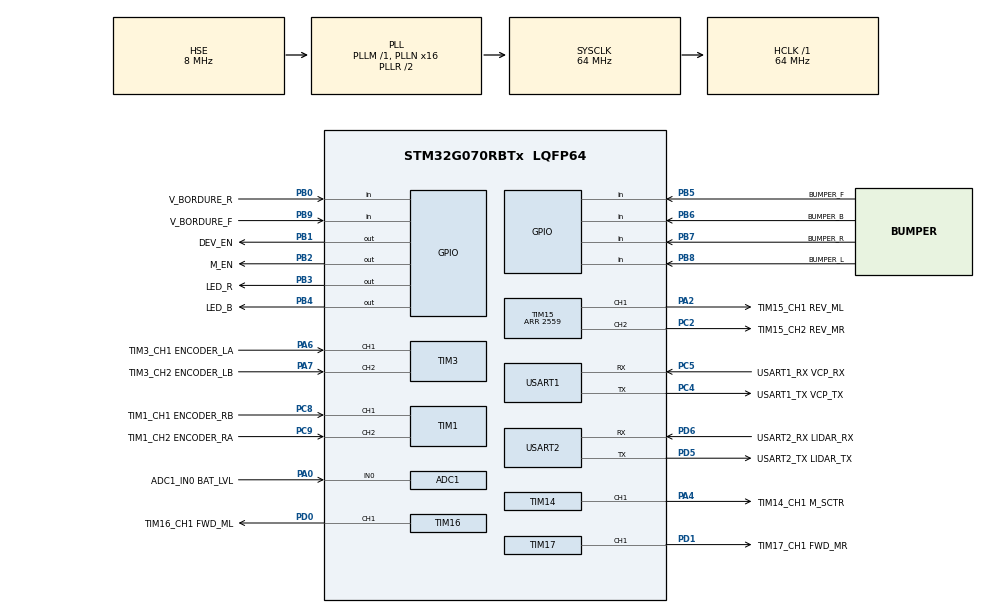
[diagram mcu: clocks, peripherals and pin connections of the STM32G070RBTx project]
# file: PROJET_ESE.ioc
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ADC1.Channel-0\#ChannelRegularConversion=ADC_CHANNEL_0
ADC1.NbrOfConversionFlag=1
ADC1.Rank-0\#ChannelRegularConversion=1
ADC1.SamplingTime-0\#ChannelRegularConversion=ADC_SAMPLINGTIME_COMMON_1
ADC1.SelectedChannel=ADC_CHANNEL_0
ADC1.master=1
Mcu.Family=STM32G0
Mcu.Name=STM32G070RBTx
Mcu.Package=LQFP64
PA0.GPIO_Label=ADC1_IN0 BAT_LVL
PA0.Mode=IN0
PA0.Signal=ADC1_IN0
PA13.Mode=Serial_Wire
PA13.Signal=SYS_SWDIO
PA14-BOOT0.Mode=Serial_Wire
PA14-BOOT0.Signal=SYS_SWCLK
PA2.GPIO_Label=TIM15_CH1 REV_ML
PA2.Signal=S_TIM15_CH1
PA4.GPIO_Label=TIM14_CH1 M_SCTR
PA4.Signal=S_TIM14_CH1
PA6.GPIO_Label=TIM3_CH1 ENCODER_LA
PA6.Signal=S_TIM3_CH1
PA7.GPIO_Label=TIM3_CH2 ENCODER_LB
PA7.Signal=S_TIM3_CH2
PB0.GPIO_Label=V_BORDURE_R
PB0.GPIO_PuPd=GPIO_PULLDOWN
PB0.Signal=GPIO_Input
PB1.GPIO_Label=DEV_EN
PB1.Signal=GPIO_Output
PB2.GPIO_Label=M_EN
PB2.Signal=GPIO_Output
PB3.GPIO_Label=LED_R
PB3.PinState=GPIO_PIN_SET
PB3.Signal=GPIO_Output
PB4.GPIO_Label=LED_B
PB4.PinState=GPIO_PIN_SET
PB4.Signal=GPIO_Output
PB5.GPIO_Label=BUMPER_F
PB5.GPIO_PuPd=GPIO_PULLDOWN
PB5.Signal=GPIO_Input
PB6.GPIO_Label=BUMPER_B
PB6.GPIO_PuPd=GPIO_PULLDOWN
PB6.Signal=GPIO_Input
PB7.GPIO_Label=BUMPER_R
PB7.GPIO_PuPd=GPIO_PULLDOWN
PB7.Signal=GPIO_Input
PB8.GPIO_Label=BUMPER_L
PB8.GPIO_PuPd=GPIO_PULLDOWN
PB8.Signal=GPIO_Input
PB9.GPIO_Label=V_BORDURE_F
PB9.GPIO_PuPd=GPIO_PULLDOWN
PB9.Signal=GPIO_Input
PC2.GPIO_Label=TIM15_CH2 REV_MR
PC2.Signal=S_TIM15_CH2
PC4.GPIO_Label=USART1_TX VCP_TX
PC4.Mode=Asynchronous
PC4.Signal=USART1_TX
PC5.GPIO_Label=USART1_RX VCP_RX
PC5.Mode=Asynchronous
PC5.Signal=USART1_RX
PC8.GPIO_Label=TIM1_CH1 ENCODER_RB
PC8.Signal=S_TIM1_CH1
PC9.GPIO_Label=TIM1_CH2 ENCODER_RA
PC9.Signal=S_TIM1_CH2
PD0.GPIO_Label=TIM16_CH1 FWD_ML
PD0.Signal=S_TIM16_CH1
PD1.GPIO_Label=TIM17_CH1 FWD_MR
PD1.Signal=S_TIM17_CH1
PD5.GPIO_Label=USART2_TX LIDAR_TX
PD5.Mode=Asynchronous
PD5.Signal=USART2_TX
PD6.GPIO_Label=USART2_RX LIDAR_RX
PD6.Mode=Asynchronous
PD6.Signal=USART2_RX
PF0-OSC_IN\ (PF0).Mode=HSE-External-Oscillator
PF0-OSC_IN\ (PF0).Signal=RCC_OSC_IN
PF1-OSC_OUT\ (PF1).Mode=HSE-External-Oscillator
PF1-OSC_OUT\ (PF1).Signal=RCC_OSC_OUT
ProjectManager.HeapSize=0x200
ProjectManager.StackSize=0x400
ProjectManager.TargetToolchain=STM32CubeIDE
RCC.ADCFreq_Value=64000000
RCC.AHBFreq_Value=64000000
RCC.CortexFreq_Value=64000000
RCC.EXTERNAL_CLOCK_VALUE=48000
RCC.HCLKFreq_Value=64000000
RCC.HSE_VALUE=8000000
RCC.HSI_VALUE=16000000
RCC.LSE_VALUE=32768
RCC.PLLN=16
RCC.PLLSourceVirtual=RCC_PLLSOURCE_HSE
RCC.SYSCLKFreq_VALUE=64000000
RCC.SYSCLKSource=RCC_SYSCLKSOURCE_PLLCLK
RCC.VCOOutputFreq_Value=128000000
SH.S_TIM14_CH1.0=TIM14_CH1,PWM Generation1 CH1
SH.S_TIM15_CH1.0=TIM15_CH1,PWM Generation1 CH1
SH.S_TIM15_CH2.0=TIM15_CH2,PWM Generation2 CH2
SH.S_TIM16_CH1.0=TIM16_CH1,PWM Generation1 CH1
SH.S_TIM17_CH1.0=TIM17_CH1,PWM Generation1 CH1
SH.S_TIM1_CH1.0=TIM1_CH1,Encoder_Interface
SH.S_TIM1_CH2.0=TIM1_CH2,Encoder_Interface
SH.S_TIM3_CH1.0=TIM3_CH1,Encoder_Interface
SH.S_TIM3_CH2.0=TIM3_CH2,Encoder_Interface
TIM14.Channel=TIM_CHANNEL_1
TIM15.Channel-PWM\ Generation1\ CH1=TIM_CHANNEL_1
TIM15.Channel-PWM\ Generation2\ CH2=TIM_CHANNEL_2
TIM15.Period=2559
TIM16.Channel=TIM_CHANNEL_1
TIM16.Period=2559
TIM17.Channel=TIM_CHANNEL_1
TIM17.Period=2559
USART1.SwapParam=ADVFEATURE_SWAP_ENABLE
USART1.VirtualMode-Asynchronous=VM_ASYNC
USART2.VirtualMode-Asynchronous=VM_ASYNC
VP_TIM14_VS_ClockSourceINT.Mode=Enable_Timer
VP_TIM15_VS_ClockSourceINT.Mode=Internal
VP_TIM16_VS_ClockSourceINT.Mode=Enable_Timer
VP_TIM17_VS_ClockSourceINT.Mode=Enable_Timer
board=custom

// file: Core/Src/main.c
/* USER CODE BEGIN Header */
/**
  ******************************************************************************
  * @file           : main.c
  * @brief          : Main program body
  ******************************************************************************
  * @attention
  *
  * Copyright (c) 2023 STMicroelectronics.
  * All rights reserved.
  *
  * This software is licensed under terms that can be found in the LICENSE file
  * in the root directory of this software component.
  * If no LICENSE file comes with this software, it is provided AS-IS.
  *
  ******************************************************************************
  */
/* USER CODE END Header */
#include "main.h"
#include "adc.h"
#include "tim.h"
#include "usart.h"
#include "gpio.h"

/* USER CODE BEGIN Includes */
#include <stdio.h>

#include "pwm.h"
#include "pid.h"
#include "motor_drv.h"
/* USER CODE END Includes */

/* USER CODE BEGIN PD */
#define FE 100.0 // Frequence pour le PID

/* USER CODE END PD */

/* USER CODE BEGIN PV */
	// PWM struct for motors
	PWM pwm_rev_left  = {.timer = &htim15, .channel = TIM_CHANNEL_1, .duty_cycle = 0.0};
	PWM pwm_fwd_left  = {.timer = &htim16, .channel = TIM_CHANNEL_1, .duty_cycle = 0.0};
	PWM pwm_rev_right = {.timer = &htim15, .channel = TIM_CHANNEL_2, .duty_cycle = 0.0};
	PWM pwm_fwd_right = {.timer = &htim17, .channel = TIM_CHANNEL_1, .duty_cycle = 0.0};
/* USER CODE END PV */

void SystemClock_Config(void);

/* USER CODE BEGIN 0 */
int __io_putchar(int chr)
{
	HAL_UART_Transmit(&huart1, (uint8_t*)&chr, 1, HAL_MAX_DELAY);
	return chr;
}
/* USER CODE END 0 */

int main(void)
{

  /* MCU Configuration--------------------------------------------------------*/

  /* Reset of all peripherals, Initializes the Flash interface and the Systick. */
  HAL_Init();

  /* Configure the system clock */
  SystemClock_Config();

  /* Initialize all configured peripherals */
  MX_GPIO_Init();
  MX_ADC1_Init();
  MX_TIM1_Init();
  MX_TIM3_Init();
  MX_TIM14_Init();
  MX_TIM15_Init();
  MX_TIM16_Init();
  MX_TIM17_Init();
  MX_USART1_UART_Init();
  MX_USART2_UART_Init();
  /* USER CODE BEGIN 2 */

  //HAL_TIM_PWM_Start(&htim15, TIM_CHANNEL_2);
  	// Start PWM timers
//	if((START_PWM(pwm_rev_left) != HAL_OK) || (START_PWM(pwm_fwd_left) != HAL_OK) ||
//		(START_PWM(pwm_rev_right) != HAL_OK) || (START_PWM(pwm_fwd_right) != HAL_OK))
//	{
//		printf("Error start pwm timers\r\n");
//		Error_Handler();
//	}
//
//	// Start Encoder timers (1 : right, 3 : left)
//	if((HAL_TIM_Encoder_Start(&htim1, TIM_CHANNEL_ALL) != HAL_OK) ||
//		(HAL_TIM_Encoder_Start(&htim3, TIM_CHANNEL_ALL) != HAL_OK))
//	{
//		printf("Error start encoder timers\r\n");
//		Error_Handler();
//	}

	// PID struct init
//	initPID(&pid_motor_left, 1.0, 1.0, 1.0, 1/FE);
//	initPID(&pid_motor_right, 1.0, 1.0, 1.0, 1/FE);
//
//	// Motor struct init
//	initMotor(&motor_left, &pwm_fwd_left, &pwm_rev_left, pid_motor_left, &htim3);
//	initMotor(&motor_right, &pwm_fwd_right, &pwm_rev_right, pid_motor_right, &htim1);

  /* USER CODE END 2 */

  /* Infinite loop */
  /* USER CODE BEGIN WHILE */
  //setMotorSpeedFwd(&motor_left, 20);
  //__HAL_TIM_SET_COMPARE(&htim15, TIM_CHANNEL_2,²&																																																												&																																																																																																																							 800);
  printf("Start\n\r");

//  char a[] = "Salut\n\r";
//  HAL_UART_Transmit(&huart1, a, 7, HAL_MAX_DELAY);

//  HAL_GPIO_WritePin(LED_B_GPIO_Port, LED_B_Pin, GPIO_PIN_SET);
//  HAL_GPIO_WritePin(LED_R_GPIO_Port, LED_R_Pin, GPIO_PIN_SET);
//

  while (1)
  {
	  HAL_GPIO_TogglePin(LED_B_GPIO_Port, LED_B_Pin);
	  HAL_GPIO_TogglePin(LED_R_GPIO_Port, LED_R_Pin);
	  HAL_Delay(1000);
    /* USER CODE END WHILE */

  }
}

void SystemClock_Config(void)
{
  RCC_OscInitTypeDef RCC_OscInitStruct = {0};
  RCC_ClkInitTypeDef RCC_ClkInitStruct = {0};

  /** Configure the main internal regulator output voltage
  */
  HAL_PWREx_ControlVoltageScaling(PWR_REGULATOR_VOLTAGE_SCALE1);

  /** Initializes the RCC Oscillators according to the specified parameters
  * in the RCC_OscInitTypeDef structure.
  */
  RCC_OscInitStruct.OscillatorType = RCC_OSCILLATORTYPE_HSE;
  RCC_OscInitStruct.HSEState = RCC_HSE_ON;
  RCC_OscInitStruct.PLL.PLLState = RCC_PLL_ON;
  RCC_OscInitStruct.PLL.PLLSource = RCC_PLLSOURCE_HSE;
  RCC_OscInitStruct.PLL.PLLM = RCC_PLLM_DIV1;
  RCC_OscInitStruct.PLL.PLLN = 16;
  RCC_OscInitStruct.PLL.PLLP = RCC_PLLP_DIV2;
  RCC_OscInitStruct.PLL.PLLR = RCC_PLLR_DIV2;
  if (HAL_RCC_OscConfig(&RCC_OscInitStruct) != HAL_OK)
  {
    Error_Handler();
  }

  /** Initializes the CPU, AHB and APB buses clocks
  */
  RCC_ClkInitStruct.ClockType = RCC_CLOCKTYPE_HCLK|RCC_CLOCKTYPE_SYSCLK
                              |RCC_CLOCKTYPE_PCLK1;
  RCC_ClkInitStruct.SYSCLKSource = RCC_SYSCLKSOURCE_PLLCLK;
  RCC_ClkInitStruct.AHBCLKDivider = RCC_SYSCLK_DIV1;
  RCC_ClkInitStruct.APB1CLKDivider = RCC_HCLK_DIV1;

  if (HAL_RCC_ClockConfig(&RCC_ClkInitStruct, FLASH_LATENCY_2) != HAL_OK)
  {
    Error_Handler();
  }
}

void Error_Handler(void)
{
  /* USER CODE BEGIN Error_Handler_Debug */
	HAL_GPIO_WritePin(LED_R_GPIO_Port, LED_R_Pin, GPIO_PIN_SET);
  /* User can add his own implementation to report the HAL error return state */
  __disable_irq();
  while (1)
  {
  }
  /* USER CODE END Error_Handler_Debug */
}
